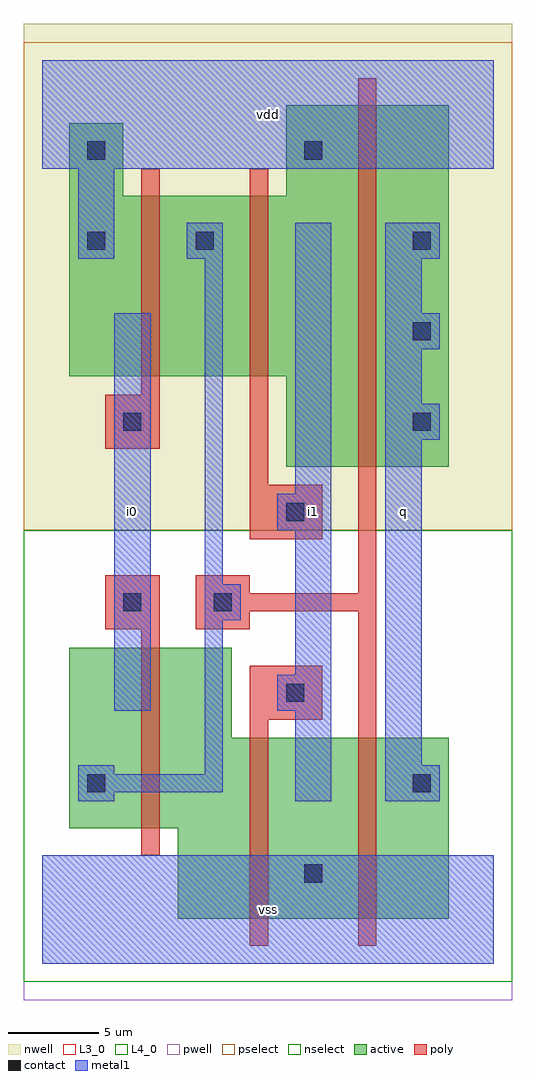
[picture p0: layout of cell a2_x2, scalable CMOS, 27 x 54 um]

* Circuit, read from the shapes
.subckt a2_x2 i0 i1 q vdd vss
M1 n1 i0 n2 VSUBS nfet w=10u l=1u
M2 vss i1 n1 VSUBS nfet w=10u l=1u
M3 q n2 vss VSUBS nfet w=10u l=1u
M4 n2 i0 vdd n3 pfet w=10u l=1u
M5 vdd i1 n2 n3 pfet w=10u l=1u
M6 q n2 vdd n3 pfet w=20u l=1u
.ends

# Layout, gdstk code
import gdstk
lib = gdstk.Library(unit=1e-6, precision=1e-09)
def R(c, l, rs):  # rectangles x0, y0, x1, y1
    for r in rs: c.add(gdstk.rectangle(r[:2], r[2:], *l))
def A(c, l, x, y, w, h, nx, ny, dx, dy):  # array of equal rectangles
    R(c, l, [(x+i*dx, y+j*dy, x+i*dx+w, y+j*dy+h) for i in range(nx) for j in range(ny)])
L3_0 = (3, 0)
L4_0 = (4, 0)
contact = (25, 0)
pwell = (41, 0)
nwell = (42, 0)
active = (43, 0)
pselect = (44, 0)
nselect = (45, 0)
poly = (46, 0)
metal1 = (49, 0)

a2_x2 = lib.new_cell('a2_x2')
R(a2_x2, L3_0, [(7.5,2.5,22.5,7.5), (1.5,7.5,22.5,12.5), (1.5,12.5,10.5,17.5)])
R(a2_x2, L4_0, [(13.5,27.5,22.5,32.5), (1.5,32.5,22.5,42.5), (1.5,42.5,4.5,46.5), (13.5,42.5,22.5,47.5)])
A(a2_x2, contact, 20.5, 29.5, 1, 1, 1, 3, 0, 5)
R(a2_x2, contact, [(14.5,4.5,15.5,5.5), (2.5,9.5,3.5,10.5), (20.5,9.5,21.5,10.5), (13.5,14.5,14.5,15.5), (4.5,19.5,5.5,20.5), (9.5,19.5,10.5,20.5), (13.5,24.5,14.5,25.5), (4.5,29.5,5.5,30.5), (2.5,39.5,3.5,40.5), (8.5,39.5,9.5,40.5), (2.5,44.5,3.5,45.5), (14.5,44.5,15.5,45.5)])
R(a2_x2, pwell, [(-1,-2,26,24)])
R(a2_x2, nwell, [(-1,24,26,52)])
R(a2_x2, active, [(7.5,2.5,22.5,7.5), (1.5,7.5,22.5,12.5), (1.5,12.5,10.5,17.5), (13.5,27.5,22.5,32.5), (1.5,32.5,22.5,42.5), (1.5,42.5,4.5,46.5), (13.5,42.5,22.5,47.5)])
R(a2_x2, pselect, [(-1,24,26,51)])
R(a2_x2, nselect, [(-1,-1,26,24)])
R(a2_x2, poly, [(11.5,1,12.5,13.5), (17.5,1,18.5,19.5), (5.5,6,6.5,18.5), (11.5,13.5,15.5,16.5), (3.5,18.5,6.5,21.5), (8.5,18.5,11.5,19.5), (8.5,19.5,18.5,20.5), (8.5,20.5,11.5,21.5), (17.5,20.5,18.5,49), (11.5,23.5,15.5,26.5), (11.5,26.5,12.5,44), (3.5,28.5,6.5,31.5), (5.5,31.5,6.5,44)])
A(a2_x2, metal1, 19, 29, 3, 2, 1, 3, 0, 5)
R(a2_x2, metal1, [(0,0,25,6), (2,9,4,9.5), (14,9,16,14), (19,9,22,11), (2,9.5,10,10.5), (2,10.5,4,11), (9,10.5,10,19), (19,11,21,29), (4,14,6,36), (13,14,16,16), (14,16,16,24), (9,19,11,21), (9,21,10,39), (13,24,16,26), (14,26,16,41), (19,31,21,34), (19,36,21,39), (2,39,4,44), (8,39,10,41), (0,44,25,50)])
a2_x2.add(gdstk.Label('i0', (5,25), layer=49, texttype=0))
a2_x2.add(gdstk.Label('vss', (12.5,3), layer=49, texttype=0))
a2_x2.add(gdstk.Label('i1', (15,25), layer=49, texttype=0))
a2_x2.add(gdstk.Label('vdd', (12.5,47), layer=49, texttype=0))
a2_x2.add(gdstk.Label('q', (20,25), layer=49, texttype=0))

lib.write_gds('a2_x2.gds')
